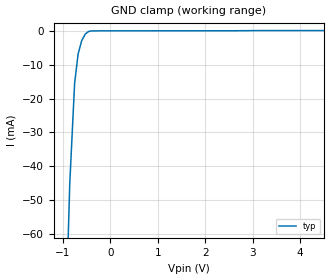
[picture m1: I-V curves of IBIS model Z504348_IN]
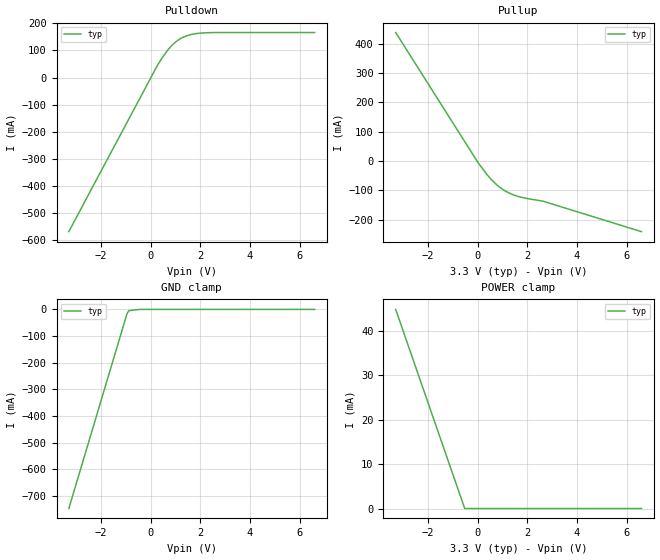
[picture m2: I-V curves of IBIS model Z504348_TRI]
| YOU ARE ONLY AUTHORIZED TO USE THIS SOFTWARE
| ACCORDING TO LICENSOR'S LICENSE RESTRICTIONS.
[IBIS Ver] 3.1
[File Name] mc74lcx541dw.ibs
[File Rev] 2.0
[Source] Measured and created by ICX Technology
[Date] Friday 7/14/00 9:08:12 AM
[Copyright]
| (C) COPYRIGHT 1993-2000
| MENTOR GRAPHICS CORPORATION
| ICX STANDARD LIBRARY, ICX PROJECT MODELING,
| ICX CUSTOM MODELING, ICX VENDOR MODEL
| ALL RIGHTS RESERVED.
| THE FOLLOWING ARE TRADEMARKS OR SERVICE MARKS OF
| MENTOR GRAPHICS CORPORATION:ICX (R), ICX STANDARD
| LIBRARY(R), ICX PROJECT MODELING(R), ICX CUSTOM
| MODELING(R), qualityIBIS(TM), MODELVIEWER(TM),
| AND MODELEDITOR(TM)
| ALL COPIES OF SOFTWARE, INCLUDING BUT NOT LIMITED TO
| ANY MODIFICATIONS, ENHANCEMENTS OR DERIVATIVE WORKS,
| MUST CONTAIN ALL MENTOR GRAPHICS CORPORATION'S
| NOTICES AND LEGENDS, INCLUDING THOSE EMBEDDED IN
| SOFTWARE AND THOSE AFFIXED TO SOFTWARE MEDIUM
| AND CONTAINER, AS RECEIVED FROM MENTOR GRAPHICS
| CORPORATION.
|  ZAP Model Builder 2.7
[Component] MC74LCX541DW
[Manufacturer] OnSemiconductor
[Package]
| variable   typ   min   max
R_pkg  .178ohms NA NA
L_pkg  4.43nH NA NA
C_pkg  .62pF NA NA
[Pin] signal_name  model_name  R_pin  L_pin C_pin
1 _G1 Z504348_IN .186 5.37n .68p
2 A0 Z504348_IN .182 4.89n .65p
3 A1 Z504348_IN .178 4.42n .62p
4 A2 Z504348_IN .174 3.96n .59p
5 A3 Z504348_IN .17 3.51n .56p
6 A4 Z504348_IN .17 3.51n .56p
7 A5 Z504348_IN .174 3.96n .59p
8 A6 Z504348_IN .178 4.42n .62p
9 A7 Z504348_IN .182 4.89n .65p
10 GROUND GND .186 5.37n .68p
11 Y7 Z504348_TRI .186 5.37n .68p
12 Y6 Z504348_TRI .182 4.89n .65p
13 Y5 Z504348_TRI .178 4.42n .62p
14 Y4 Z504348_TRI .174 3.96n .59p
15 Y3 Z504348_TRI .17 3.51n .56p
16 Y2 Z504348_TRI .17 3.51n .56p
17 Y1 Z504348_TRI .174 3.96n .59p
18 Y0 Z504348_TRI .178 4.42n .62p
19 _G2 Z504348_IN .182 4.89n .65p
20 VCC POWER .186 5.37n .68p
| Models and submodels in the file (2): Z504348_IN (Input), Z504348_TRI (3-state)
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| (C) COPYRIGHT 1993-2000
| MENTOR GRAPHICS CORPORATION
| ICX STANDARD LIBRARY, ICX PROJECT MODELING,
| ICX CUSTOM MODELING, ICX VENDOR MODEL
| ALL RIGHTS RESERVED.
| THE FOLLOWING ARE TRADEMARKS OR SERVICE MARKS OF
| MENTOR GRAPHICS CORPORATION:ICX (R), ICX STANDARD
| LIBRARY(R), ICX PROJECT MODELING(R), ICX CUSTOM
| MODELING(R), qualityIBIS(TM), MODELVIEWER(TM),
| AND MODELEDITOR(TM)
| ALL COPIES OF SOFTWARE, INCLUDING BUT NOT LIMITED TO
| ANY MODIFICATIONS, ENHANCEMENTS OR DERIVATIVE WORKS,
| MUST CONTAIN ALL MENTOR GRAPHICS CORPORATION'S
| NOTICES AND LEGENDS, INCLUDING THOSE EMBEDDED IN
| SOFTWARE AND THOSE AFFIXED TO SOFTWARE MEDIUM
| AND CONTAINER, AS RECEIVED FROM MENTOR GRAPHICS
| CORPORATION.
| Model Application Version 1.89 2/18/99.
[Model] Z504348_IN
Model_type Input
Vinl = 800.0mV
Vinh = 2.000V
C_comp 4.000pF NA NA
| variable typ   min   max
[Voltage Range] 3.300V NA NA
[GND Clamp Reference] 0.000V NA NA
[POWER Clamp Reference] 3.300V NA NA
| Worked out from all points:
|   GND clamp passes 1 mA (typ) near -0.54 V on its own axis
[GND Clamp]
-3.3V     -1.559A    NA         NA
-1.016V   -123.6mA   NA         NA
-858.4mV  -45.45mA   NA         NA
-754.8mV  -15.41mA   NA         NA
-680.6mV  -6.744mA   NA         NA
-607.1mV  -2.871mA   NA         NA
-531mV    -863uA     NA         NA
-467.9mV  -173.7uA   NA         NA
-195.1mV  89.85uA    NA         NA
6.6V      169.7uA    NA         NA
[POWER Clamp]
-3.3V     0A         NA         NA
6.6V      0A         NA         NA
| (C) COPYRIGHT 1993-2000
| MENTOR GRAPHICS CORPORATION
| ICX STANDARD LIBRARY, ICX PROJECT MODELING,
| ICX CUSTOM MODELING, ICX VENDOR MODEL
| ALL RIGHTS RESERVED.
| THE FOLLOWING ARE TRADEMARKS OR SERVICE MARKS OF
| MENTOR GRAPHICS CORPORATION:ICX (R), ICX STANDARD
| LIBRARY(R), ICX PROJECT MODELING(R), ICX CUSTOM
| MODELING(R), qualityIBIS(TM), MODELVIEWER(TM),
| AND MODELEDITOR(TM)
| ALL COPIES OF SOFTWARE, INCLUDING BUT NOT LIMITED TO
| ANY MODIFICATIONS, ENHANCEMENTS OR DERIVATIVE WORKS,
| MUST CONTAIN ALL MENTOR GRAPHICS CORPORATION'S
| NOTICES AND LEGENDS, INCLUDING THOSE EMBEDDED IN
| SOFTWARE AND THOSE AFFIXED TO SOFTWARE MEDIUM
| AND CONTAINER, AS RECEIVED FROM MENTOR GRAPHICS
| CORPORATION.
| Model Application Version 1.89 2/18/99.
[Model] Z504348_TRI
Model_type 3-state
Vref=0.000V
Rref=500.0ohms
Cref=50.00pF
Vmeas=1.500V
C_comp 8.000pF NA NA
| variable typ   min   max
[Voltage Range] 3.300V NA NA
[POWER Clamp Reference] 3.300V NA NA
[Pullup Reference] 3.300V NA NA
[Pulldown Reference] 0.000V NA NA
[GND Clamp Reference] 0.000V NA NA
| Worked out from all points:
|   slope of the pulldown table from 0 to 0.495 V, typ, clamps not added: 6.3 ohm
|   slope of the pullup table from 0 to 0.495 V, typ, clamps not added: 9.1 ohm
[GND Clamp]
-3.3V     -747.7mA   NA         NA
-954.9mV  -15.86mA   NA         NA
-878.6mV  -4.604mA   NA         NA
-439.3mV  0A         NA         NA
6.6V      0A         NA         NA
[Pulldown]
-3.3V     -569.8mA   NA         NA
259.5mV   43.52mA    NA         NA
449.2mV   71.6mA     NA         NA
695.2mV   102.8mA    NA         NA
1.002V    131.6mA    NA         NA
1.398V    152.9mA    NA         NA
1.71V     160.8mA    NA         NA
2.047V    164.6mA    NA         NA
6.6V      166.4mA    NA         NA
[Pullup]
-3.3V     437.8mA    NA         NA
13mV      -5.15mA    NA         NA
385mV     -47.45mA   NA         NA
768mV     -81.1mA    NA         NA
1.088V    -101.1mA   NA         NA
1.586V    -119.7mA   NA         NA
2.63V     -137.1mA   NA         NA
6.6V      -241mA     NA         NA
[POWER Clamp]
-3.3V     44.78mA    NA         NA
-520mV    0A         NA         NA
6.6V      0A         NA         NA
[Ramp]
| variable typ min max
dV/dt_r 1.961/380.1p NA NA
dV/dt_f 1.961/1.073n NA NA
R_load = 500.0Ohms
